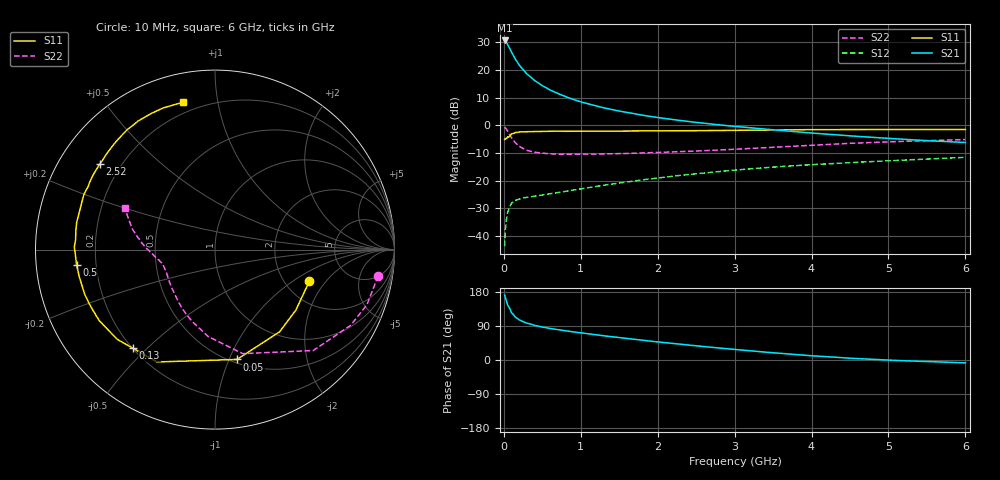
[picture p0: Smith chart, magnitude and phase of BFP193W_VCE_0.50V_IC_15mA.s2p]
! Infineon Technologies  Discrete & RF Semiconductors
! BFP193W
! VCE = 0.50V,  IC =  15 mA
! Common Emitter S-Parameters:  Jan 2016
# GHz  S  MA  R  50
!  f  S11  S21  S12  S22
! GHz  MAG  ANG  MAG  ANG  MAG  ANG  MAG  ANG
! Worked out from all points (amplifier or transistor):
!   210 points, 10 MHz to 6 GHz, reference 50 ohm
!   highest |S21| = 30.7 dB at 10 MHz (marker M1)
!   |S21| within 3 dB of that: start of sweep to 77.03 MHz
!   unconditionally stable (mu >= 1): 851.5 MHz to end of sweep
!   at 185 MHz: K = 0.31, MSG = 24.6 dB, |S12| = -26.8 dB
!   at 1.52 GHz: K = 1.22, MAG = 10.1 dB, |S12| = -20.8 dB
!   at 6 GHz: K = 1.09, MAG = 0.8 dB, |S12| = -11.6 dB
!   S11 on the Smith chart (normalised r, x): 10 MHz: 2.71, -1.37; 50 MHz: 0.53, -1.07; 130 MHz: 0.20, -0.45; 500 MHz: 0.13, -0.05; 2.52 GHz: 0.12, +0.33; 6 GHz: 0.14, +0.80
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0.01  0.5546 -18.4  34.3 171.4  0.0065 83.0  0.9208 -9.2
0.02  0.5626 -36.7  33.53 164.6  0.0129 75.1  0.9004 -20.0
0.03  0.5825 -51.9  32.42 157.6  0.0183 69.4  0.8656 -29.2
0.05  0.6241 -78.7  28.95 145.0  0.0269 58.3  0.7845 -45.8
0.1  0.7044 -117.3  21.01 124.8  0.0391 41.9  0.5998 -75.1
0.13  0.7148 -129.7  17.7 118.5  0.0418 36.8  0.5234 -85.8
0.15  0.7395 -137.5  15.66 112.9  0.0438 33.7  0.4852 -94.6
0.2  0.7569 -148.6  12.29 105.8  0.0463 30.9  0.4185 -108.1
0.24  0.7605 -154.5  10.52 102.0  0.048 29.5  0.3867 -115.9
0.3  0.7674 -161.2  8.466 97.2  0.0497 28.7  0.3527 -125.8
0.4  0.7712 -168.6  6.452 91.3  0.0521 29.4  0.3255 -136.5
0.5  0.7759 -173.8  5.209 86.9  0.0548 31.5  0.313 -143.7
0.6  0.778 -177.8  4.357 83.3  0.0577 33.4  0.3052 -149.1
0.7  0.784 179.0  3.775 80.1  0.0607 35.3  0.3006 -152.7
1.02  0.7836 170.8  2.608 71.1  0.0715 40.5  0.3003 -160.3
1.4  0.7845 162.9  1.93 61.5  0.0863 43.9  0.3067 -165.2
2.02  0.7934 151.4  1.371 47.3  0.1123 45.9  0.3229 -170.3
2.52  0.799 143.2  1.121 37.0  0.1337 44.9  0.3433 -174.8
3.1  0.8131 134.0  0.927 26.2  0.1588 42.3  0.3744 180.0
4.1  0.8348 119.7  0.708 10.0  0.1973 36.2  0.4421 170.1
5.1  0.8398 109.3  0.569 -1.2  0.2314 30.1  0.5076 161.0
6  0.8402 102.1  0.489 -7.5  0.2631 25.0  0.5527 155.0
